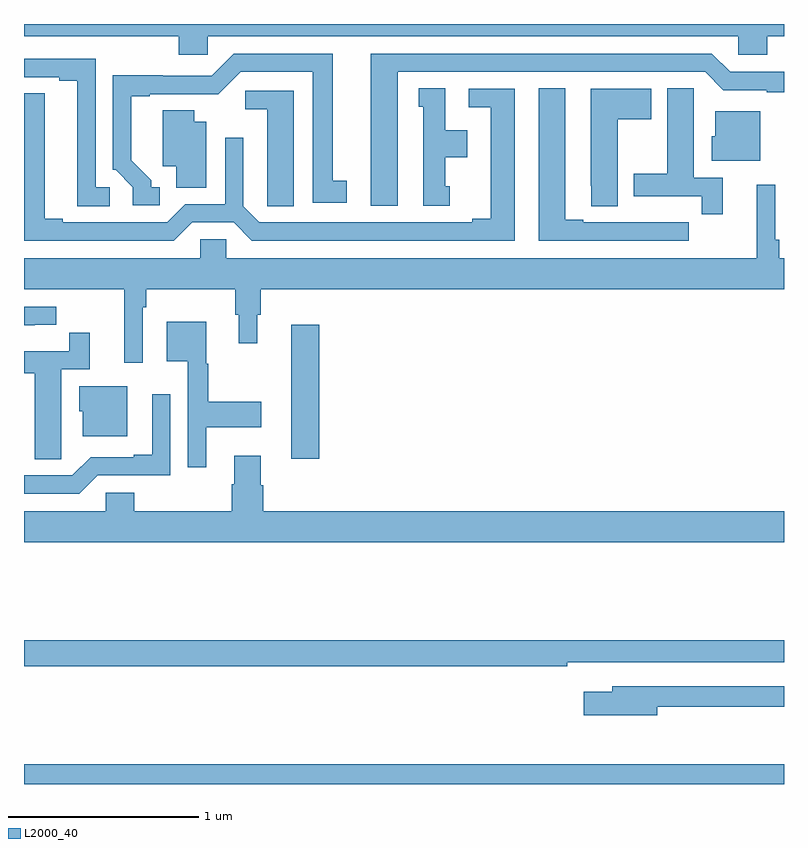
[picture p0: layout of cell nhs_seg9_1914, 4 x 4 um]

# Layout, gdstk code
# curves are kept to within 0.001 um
import gdstk
lib = gdstk.Library(unit=1e-6, precision=1e-09)
def R(c, l, rs):  # rectangles x0, y0, x1, y1
    for r in rs: c.add(gdstk.rectangle(r[:2], r[2:], *l))
def P(c, l, *ps):  # polygons
    for p in ps: c.add(gdstk.Polygon(p, *l))
L2000_40 = (2000, 40)

nhs_seg9_1914 = lib.new_cell('nhs_seg9_1914')
R(nhs_seg9_1914, L2000_40, [(219,1176.5,223,1176.604), (220.406,1178.211,220.553,1178.917)])
P(nhs_seg9_1914, L2000_40, [(219.966,1180.436),(222.759,1180.436),(222.759,1180.338),(222.911,1180.338),(222.911,1180.436),(223,1180.436),(223,1180.5),(219,1180.5),(219,1180.436),(219.815,1180.436),(219.815,1180.338),(219.966,1180.338)],
  [(220.966,1180.248),(222.585,1180.248),(222.681,1180.152),(222.908,1180.152),(222.908,1180.14),(223,1180.14),(223,1180.248),(222.717,1180.248),(222.621,1180.344),(220.826,1180.344),(220.826,1179.543),(220.966,1179.543)],
  [(219.715,1179.642),(219.67,1179.642),(219.67,1179.677),(219.565,1179.782),(219.565,1180.119),(219.661,1180.119),(219.661,1180.131),(220.022,1180.13),(220.14,1180.248),(220.52,1180.248),(220.52,1179.558),(220.699,1179.558),(220.699,1179.674),(220.624,1179.674),(220.624,1180.344),(220.104,1180.344),(219.987,1180.227),(219.731,1180.227),(219.731,1180.229),(219.468,1180.229),(219.468,1179.732),(219.483,1179.732),(219.573,1179.642),(219.573,1179.546),(219.715,1179.546)],
  [(219.451,1179.642),(219.378,1179.642),(219.378,1180.317),(219,1180.317),(219,1180.221),(219.185,1180.221),(219.185,1180.201),(219.281,1180.201),(219.281,1179.541),(219.451,1179.541)],
  [(221.242,1179.645),(221.218,1179.645),(221.218,1179.8),(221.332,1179.8),(221.332,1179.94),(221.218,1179.94),(221.218,1180.163),(221.078,1180.163),(221.078,1180.065),(221.102,1180.065),(221.102,1179.543),(221.242,1179.543)],
  [(222.499,1179.456),(222.386,1179.456),(222.386,1179.457),(222.22,1179.457),(222.22,1179.456),(221.944,1179.456),(221.944,1179.471),(221.848,1179.471),(221.848,1180.163),(221.708,1180.163),(221.708,1179.36),(222.499,1179.36)],
  [(222.677,1179.69),(222.526,1179.69),(222.526,1180.052),(222.525,1180.052),(222.525,1180.163),(222.386,1180.163),(222.386,1179.711),(222.209,1179.711),(222.209,1179.594),(222.568,1179.594),(222.568,1179.498),(222.677,1179.498)],
  [(222.124,1180),(222.301,1180),(222.301,1180.159),(221.984,1180.159),(221.984,1179.649),(221.985,1179.649),(221.985,1179.541),(222.124,1179.541)],
  [(219.885,1179.456),(220.103,1179.456),(220.199,1179.36),(221.584,1179.36),(221.584,1180.158),(221.34,1180.158),(221.34,1180.062),(221.456,1180.062),(221.456,1179.476),(221.36,1179.476),(221.36,1179.456),(220.239,1179.456),(220.155,1179.54),(220.155,1179.901),(220.059,1179.901),(220.059,1179.552),(219.849,1179.552),(219.753,1179.456),(219.205,1179.456),(219.205,1179.476),(219.109,1179.476),(219.109,1180.136),(219,1180.136),(219,1179.36),(219.789,1179.36)],
  [(220.42,1180.149),(220.164,1180.149),(220.164,1180.052),(220.28,1180.052),(220.28,1179.649),(220.281,1179.649),(220.281,1179.541),(220.42,1179.541)],
  [(219.958,1179.985),(219.895,1179.985),(219.895,1180.046),(219.731,1180.046),(219.731,1179.752),(219.8,1179.752),(219.8,1179.637),(219.958,1179.637)],
  [(222.874,1180.042),(222.638,1180.042),(222.638,1179.909),(222.62,1179.909),(222.62,1179.779),(222.874,1179.779)],
  [(219.624,1179.008),(219.644,1179.008),(219.644,1179.104),(220.111,1179.104),(220.111,1178.97),(220.13,1178.97),(220.13,1178.82),(220.228,1178.82),(220.228,1178.97),(220.247,1178.97),(220.247,1179.104),(223,1179.104),(223,1179.268),(222.974,1179.268),(222.974,1179.364),(222.954,1179.364),(222.954,1179.655),(222.857,1179.655),(222.857,1179.268),(220.065,1179.268),(220.065,1179.366),(219.927,1179.366),(219.927,1179.268),(219,1179.268),(219,1179.104),(219.527,1179.104),(219.527,1178.718),(219.624,1178.718)],
  [(219.056,1178.916),(219.169,1178.916),(219.169,1179.012),(219,1179.012),(219,1178.915),(219.056,1178.915)],
  [(219.958,1178.378),(220.249,1178.378),(220.249,1178.513),(219.97,1178.513),(219.97,1178.712),(219.958,1178.712),(219.958,1178.932),(219.752,1178.932),(219.752,1178.726),(219.861,1178.726),(219.861,1178.166),(219.958,1178.166)],
  [(219.195,1178.32),(219.196,1178.32),(219.196,1178.682),(219.347,1178.682),(219.347,1178.875),(219.238,1178.875),(219.238,1178.778),(219,1178.778),(219,1178.662),(219.056,1178.662),(219.056,1178.209),(219.195,1178.209)],
  [(219.544,1178.593),(219.29,1178.593),(219.29,1178.463),(219.308,1178.463),(219.308,1178.33),(219.544,1178.33)],
  [(219.387,1178.124),(219.771,1178.124),(219.771,1178.551),(219.674,1178.551),(219.674,1178.233),(219.578,1178.233),(219.578,1178.22),(219.351,1178.22),(219.255,1178.124),(219,1178.124),(219,1178.028),(219.291,1178.028)],
  [(223,1177.936),(220.259,1177.936),(220.259,1178.073),(220.246,1178.073),(220.246,1178.227),(220.106,1178.227),(220.106,1178.078),(220.094,1178.078),(220.094,1177.936),(219.581,1177.936),(219.581,1178.034),(219.429,1178.034),(219.429,1177.936),(219,1177.936),(219,1177.772),(223,1177.772)],
  [(221.858,1177.14),(223,1177.14),(223,1177.256),(219,1177.256),(219,1177.12),(221.858,1177.12)],
  [(222.334,1176.906),(223,1176.906),(223,1177.014),(222.095,1177.014),(222.095,1176.985),(221.946,1176.985),(221.946,1176.863),(222.334,1176.863)])

lib.write_gds('nhs_seg9_1914.gds')
